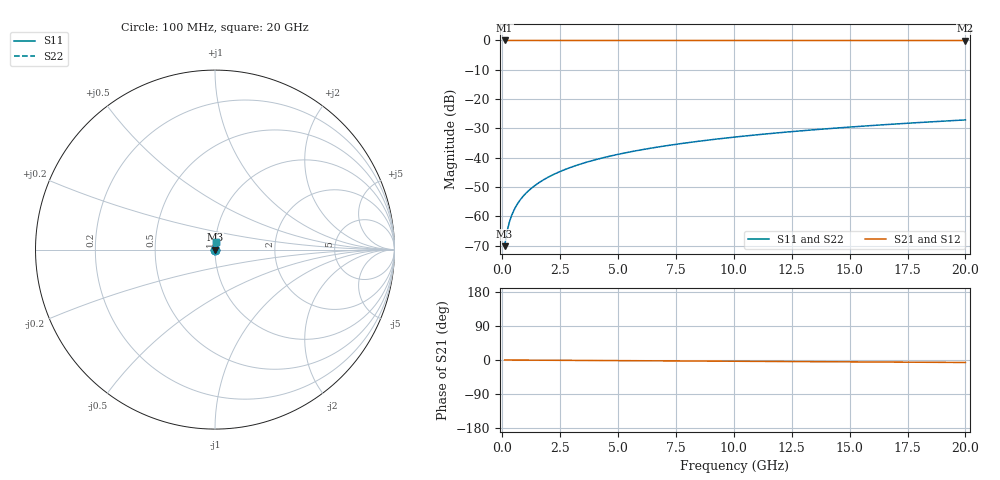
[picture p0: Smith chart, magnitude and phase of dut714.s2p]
! Touchstone file exported from HFSS 2026.1.0
!  File:  C:/ffzhzh/LocalFiles/Ansys_Project_Files/temp_train_TSV_714_1783182103_22436.aedt
!  Generated:  12:23:16 AM Jul  5, 2026
!  Design:  TSV
!  Project:  temp_train_TSV_714_1783182103_22436
! Variables:
!  h_bsmrdl = 2um
!  h_ox = 20um
!  h_rdl = 5um
!  h_sub = 54.81um
!  h_tmrdl = 5um
!  h_tsv = 54.81um
!  h_via = 3um
!  l_bsmrdl = 300um
!  l_sub = 413.46um
!  l_tmrdl = 200um
!  m_sub = 200um
!  pitch = 45.69um
!  r_tsv = 6.73um
!  s_tmrdl = 10um
!  w_bsmrdl = 18um
!  w_sub = 500um
!  w_tmrdl = 12um
!  x_tsv_center1 = 206um
!  x_tsv_center2 = 524um
!  x_tsv_center3 = 736um
!  x_tsv_center4 = 1054um
!  x_tsv_center5 = 1266um
!  x_tsv_center6 = 1584um
# GHz S MA R 50.000000
! Terminal data exported
! Port[1] = TSV1_1_T1
! Port[2] = TSV1_1_T2
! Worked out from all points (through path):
!   200 points, 100 MHz to 20 GHz, reference 50 ohm
!   highest |S21| = 0.00 dB at 100 MHz (marker M1); lowest = 0.0 dB at 20 GHz (marker M2)
!   lowest |S11| = -70.2 dB at 100 MHz (marker M3), VSWR 1.00, Z = 50 + j0.0254 ohm
!   |S11| at or under -10 dB: start of sweep to end of sweep
!   |S22| runs from -70.2 to -27.1 dB; largest |S21 - S12| = 2.1e-15
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0.1  0.0003081 55.5  0.9998 -0.0  0.9998 -0.0  0.0003081 55.5
! Gamma 0 0 0 0
! Port Impedance 50 0 50 0
0.2  0.0005381 70.1  0.9998 -0.1  0.9998 -0.1  0.0005381 70.1
0.3  0.0007797 75.4  0.9998 -0.1  0.9998 -0.1  0.0007797 75.4
0.4  0.001021 77.9  0.9998 -0.1  0.9998 -0.1  0.001021 77.9
0.5  0.00126 79.4  0.9998 -0.2  0.9998 -0.2  0.00126 79.4
0.6  0.001496 80.4  0.9998 -0.2  0.9998 -0.2  0.001496 80.4
0.7  0.001729 81.1  0.9997 -0.2  0.9997 -0.2  0.001729 81.1
0.8  0.00196 81.6  0.9997 -0.3  0.9997 -0.3  0.00196 81.6
1  0.002418 82.4  0.9997 -0.3  0.9997 -0.3  0.002418 82.4
1.4  0.003324 83.5  0.9996 -0.5  0.9996 -0.5  0.003324 83.5
1.7  0.004001 84.1  0.9996 -0.6  0.9996 -0.6  0.004001 84.1
2  0.004678 84.5  0.9996 -0.7  0.9996 -0.7  0.004678 84.5
2.7  0.006252 85.0  0.9995 -0.9  0.9995 -0.9  0.006252 85.0
3.5  0.008045 85.2  0.9995 -1.2  0.9995 -1.2  0.008045 85.2
4.2  0.009605 85.3  0.9994 -1.4  0.9994 -1.4  0.009605 85.3
5  0.01138 85.3  0.9993 -1.7  0.9993 -1.7  0.01138 85.3
6.8  0.01535 85.1  0.9992 -2.2  0.9992 -2.2  0.01535 85.1
8.3  0.01864 84.8  0.999 -2.7  0.999 -2.7  0.01864 84.8
10.1  0.02257 84.5  0.9989 -3.3  0.9989 -3.3  0.02257 84.5
13.4  0.02976 83.7  0.9986 -4.4  0.9986 -4.4  0.02976 83.7
16.7  0.03691 82.8  0.9982 -5.5  0.9982 -5.5  0.03691 82.8
20  0.04402 81.9  0.9978 -6.5  0.9978 -6.5  0.04402 81.9
